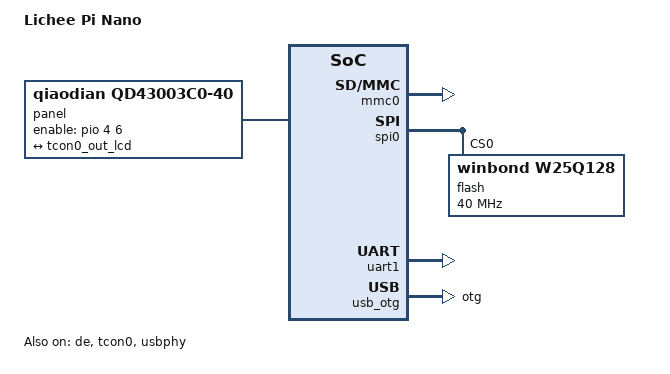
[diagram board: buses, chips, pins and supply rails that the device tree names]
// SPDX-License-Identifier: (GPL-2.0+ OR X11)
/*
 * Copyright 2018 Icenowy Zheng <icenowy@aosc.io>
 */

/dts-v1/;
#include "suniv-f1c100s.dtsi"

#include <dt-bindings/gpio/gpio.h>

/ {
    model = "Lichee Pi Nano";
    compatible = "licheepi,licheepi-nano", "allwinner,suniv-f1c100s",
             "allwinner,suniv";

    aliases {
        serial0 = &uart0;
        serial1 = &uart1;
        spi0 = &spi0;
    };

    chosen {
        #address-cells = <1>;
        #size-cells = <1>;
        ranges;

        stdout-path = "serial1:115200n8";
    };

    panel: panel {
        compatible = "qiaodian,qd43003c0-40", "simple-panel";
        #address-cells = <1>;
        #size-cells = <0>;
        enable-gpios = <&pio 4 6 GPIO_ACTIVE_HIGH>;

        port@0 {
            reg = <0>;
            #address-cells = <1>;
            #size-cells = <0>;

            panel_input: endpoint@0 {
                reg = <0>;
                remote-endpoint = <&tcon0_out_lcd>;
            };
        };
    };
};

&de {
    status = "okay";
};

&mmc0 {
    broken-cd;
    status = "okay";
};

&otg_sram {
    status = "okay";
};

&spi0 {
    pinctrl-names = "default";
    pinctrl-0 = <&spi0_pins_c>;
    status = "okay";

    flash@0 {
        #address-cells = <1>;
        #size-cells = <1>;
        compatible = "winbond,w25q128", "jedec,spi-nor";
        reg = <0>;
        spi-max-frequency = <40000000>;
    };
};

&tcon0 {
    pinctrl-names = "default";
    pinctrl-0 = <&lcd_rgb666_pins_d>;
    status = "okay";
};

&tcon0_out {
    tcon0_out_lcd: endpoint@0 {
        reg = <0>;
        remote-endpoint = <&panel_input>;
    };
};

&uart0 {
    pinctrl-names = "default";
    pinctrl-0 = <&uart0_pins_e>;
    status = "disable";
};

&uart1 {
    pinctrl-names = "default";
    pinctrl-0 = <&uart1_pins_a>;
    status = "okay";
};

&uart2 {
    pinctrl-names = "default";
    pinctrl-0 = <&uart2_pins_e>;
    status = "disable";
};

&usb_otg {
    dr_mode = "otg";
    status = "okay";
};

&usbphy {
    usb0_id_det = <&pio 4 2 GPIO_ACTIVE_HIGH>; /* PE2 */
    status = "okay";
};
